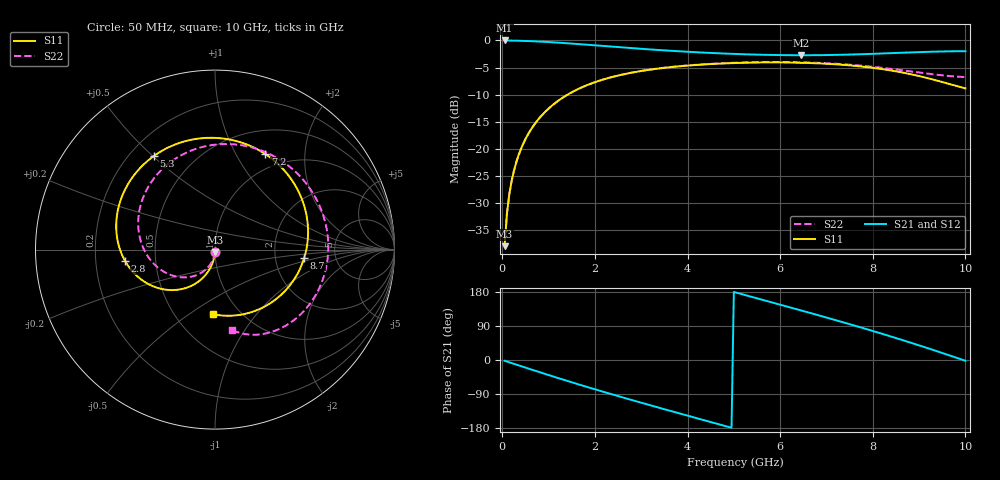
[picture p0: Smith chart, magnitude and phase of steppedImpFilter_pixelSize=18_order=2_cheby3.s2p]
! freq	dB(S11)	phase(S11)	dB(S12)	phase(S12)
!  dB(S21)	phase(S21)	dB(S22)	phase(S22)
!S-par simulation data
#  GHz  S  DB  R 50
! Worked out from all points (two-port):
!   200 points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, 50 MHz to 10 GHz, reference 50 ohm
!   highest |S21| = 0.00 dB at 50 MHz (marker M1); lowest = -2.7 dB at 6.45 GHz (marker M2)
!   |S21| within 3 dB of the highest: start of sweep to end of sweep
!   lowest |S11| = -38.0 dB at 50 MHz (marker M3), VSWR 1.03, Z = 49.9 - j1.26 ohm
!   |S11| at or under -10 dB: start of sweep to 1.412 GHz
!   |S22| runs from -38.0 to -4.0 dB; largest |S21 - S12| = 0
!   S11 on the Smith chart (normalised r, x): 50 MHz: 1.00, -0.03; 2.8 GHz: 0.33, -0.06; 5.3 GHz: 0.30, +0.50; 7.2 GHz: 0.79, +1.33; 8.7 GHz: 2.95, -0.35; 10 GHz: 0.76, -0.63
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0.05  -38.01 -91.7  -0.00 -2.0  -0.00 -2.0  -38.01 -92.5
0.1  -32.00 -93.5  -0.01 -4.1  -0.01 -4.1  -32.01 -95.2
0.2  -26.03 -97.0  -0.02 -8.1  -0.02 -8.1  -26.04 -100.2
0.35  -21.25 -101.9  -0.05 -14.1  -0.05 -14.1  -21.26 -107.6
0.5  -18.24 -106.7  -0.09 -20.1  -0.09 -20.1  -18.24 -114.8
1  -12.58 -122.3  -0.29 -39.7  -0.29 -39.7  -12.59 -138.7
1.75  -8.54 -144.4  -0.74 -68.2  -0.74 -68.2  -8.55 -173.6
2.3  -6.92 -159.5  -1.10 -88.1  -1.10 -88.1  -6.92 161.6
2.8  -5.94 -172.7  -1.43 -105.8  -1.43 -105.8  -5.94 139.4
3.4  -5.16 172.1  -1.78 -126.5  -1.78 -126.5  -5.14 113.1
4.2  -4.52 152.0  -2.18 -153.6  -2.18 -153.6  -4.48 79.0
5.05  -4.17 130.0  -2.51 177.9  -2.51 177.9  -4.10 44.6
5.3  -4.11 123.1  -2.58 169.5  -2.58 169.5  -4.04 34.9
5.85  -4.06 107.4  -2.69 151.1  -2.69 151.1  -3.98 14.5
6.45  -4.12 88.7  -2.73 130.9  -2.73 130.9  -4.03 -6.2
6.7  -4.19 80.4  -2.73 122.4  -2.73 122.4  -4.09 -14.2
7.2  -4.41 62.4  -2.67 105.1  -2.67 105.1  -4.30 -29.3
7.8  -4.86 38.2  -2.53 83.9  -2.53 83.9  -4.70 -45.4
8.35  -5.49 12.9  -2.36 63.6  -2.36 63.6  -5.21 -57.9
8.7  -6.03 -5.1  -2.25 50.3  -2.25 50.3  -5.59 -64.5
9.4  -7.45 -47.0  -2.05 22.7  -2.05 22.7  -6.36 -73.9
10  -8.86 -91.5  -1.99 -2.1  -1.99 -2.1  -6.76 -78.0
